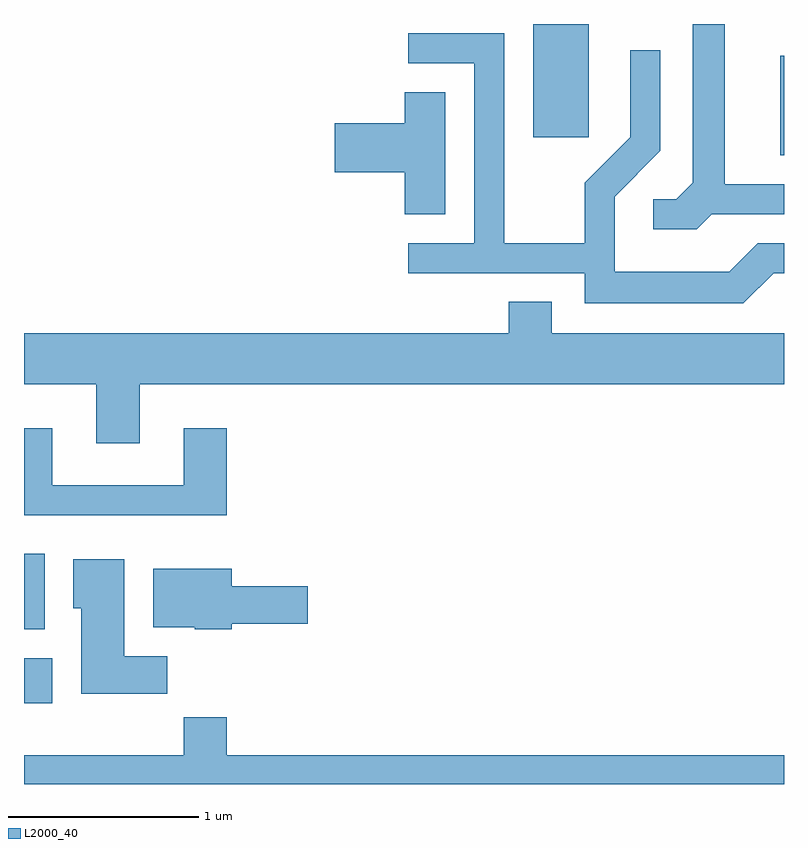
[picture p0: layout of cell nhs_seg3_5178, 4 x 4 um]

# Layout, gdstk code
import gdstk
lib = gdstk.Library(unit=1e-6, precision=1e-09)
def R(c, l, rs):  # rectangles x0, y0, x1, y1
    for r in rs: c.add(gdstk.rectangle(r[:2], r[2:], *l))
def P(c, l, *ps):  # polygons
    for p in ps: c.add(gdstk.Polygon(p, *l))
L2000_40 = (2000, 40)

nhs_seg3_5178 = lib.new_cell('nhs_seg3_5178')
R(nhs_seg3_5178, L2000_40, [(337.611,1144.316,337.759,1144.554), (337.611,1144.706,337.719,1145.104), (341.591,1147.201,341.611,1147.724), (340.291,1147.296,340.584,1147.892)])
P(nhs_seg3_5178, L2000_40, [(341.232,1146.891),(341.611,1146.891),(341.611,1147.049),(341.299,1147.049),(341.299,1147.892),(341.131,1147.892),(341.131,1147.057),(341.044,1146.969),(340.923,1146.969),(340.923,1146.811),(341.152,1146.811)],
  [(341.557,1146.581),(341.611,1146.581),(341.611,1146.739),(341.474,1146.739),(341.324,1146.589),(340.719,1146.589),(340.719,1146.984),(340.959,1147.224),(340.959,1147.753),(340.801,1147.753),(340.801,1147.297),(340.561,1147.057),(340.561,1146.739),(340.139,1146.739),(340.139,1147.844),(339.633,1147.844),(339.633,1147.686),(339.981,1147.686),(339.981,1146.739),(339.633,1146.739),(339.633,1146.581),(340.561,1146.581),(340.561,1146.421),(341.397,1146.421)],
  [(339.829,1147.534),(339.616,1147.534),(339.616,1147.369),(339.246,1147.369),(339.246,1147.111),(339.616,1147.111),(339.616,1146.891),(339.829,1146.891)],
  [(338.219,1145.996),(341.611,1145.996),(341.611,1146.264),(340.389,1146.264),(340.389,1146.429),(340.161,1146.429),(340.161,1146.264),(337.611,1146.264),(337.611,1145.996),(337.991,1145.996),(337.991,1145.686),(338.219,1145.686)],
  [(338.679,1145.764),(338.451,1145.764),(338.451,1145.464),(337.759,1145.464),(337.759,1145.764),(337.611,1145.764),(337.611,1145.306),(338.679,1145.306)],
  [(338.364,1144.564),(338.139,1144.564),(338.139,1145.074),(337.871,1145.074),(337.871,1144.816),(337.911,1144.816),(337.911,1144.366),(338.364,1144.366)],
  [(338.704,1144.736),(339.104,1144.736),(339.104,1144.934),(338.704,1144.934),(338.704,1145.024),(338.291,1145.024),(338.291,1144.716),(338.51,1144.716),(338.51,1144.706),(338.704,1144.706)],
  [(341.611,1144.044),(338.679,1144.044),(338.679,1144.244),(338.451,1144.244),(338.451,1144.044),(337.611,1144.044),(337.611,1143.892),(341.611,1143.892)])

lib.write_gds('nhs_seg3_5178.gds')
